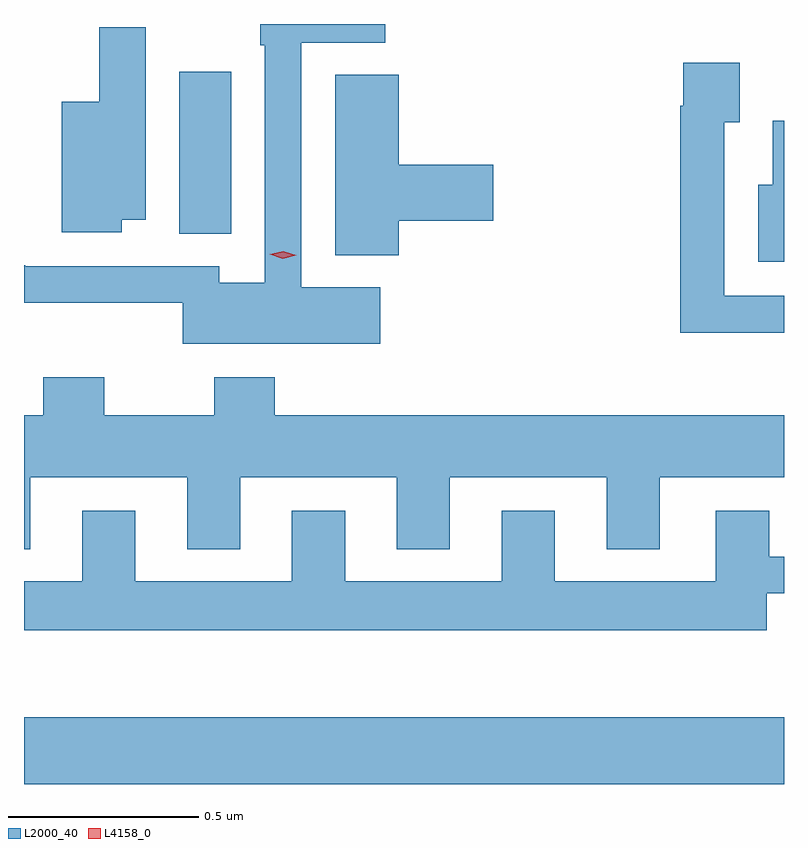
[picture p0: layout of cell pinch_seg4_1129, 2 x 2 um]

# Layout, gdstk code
import gdstk
lib = gdstk.Library(unit=1e-6, precision=1e-09)
def R(c, l, rs):  # rectangles x0, y0, x1, y1
    for r in rs: c.add(gdstk.rectangle(r[:2], r[2:], *l))
def P(c, l, *ps):  # polygons
    for p in ps: c.add(gdstk.Polygon(p, *l))
L2000_40 = (2000, 40)
L4158_0 = (4158, 0)

pinch_seg4_1129 = lib.new_cell('pinch_seg4_1129')
R(pinch_seg4_1129, L2000_40, [(396.266,800.009,398.266,800.185), (396.674,801.457,396.811,801.883)])
P(pinch_seg4_1129, L2000_40, [(397.204,801.316),(396.996,801.316),(396.996,801.96),(397.216,801.96),(397.216,802.009),(396.888,802.009),(396.888,801.953),(396.9,801.953),(396.9,801.328),(396.78,801.328),(396.78,801.372),(396.269,801.372),(396.269,801.374),(396.266,801.374),(396.266,801.275),(396.684,801.275),(396.684,801.167),(397.204,801.167)],
  [(396.523,801.494),(396.586,801.494),(396.586,802),(396.464,802),(396.464,801.805),(396.365,801.805),(396.365,801.461),(396.523,801.461)],
  [(398.266,801.294),(398.109,801.294),(398.109,801.751),(398.149,801.751),(398.149,801.907),(398.001,801.907),(398.001,801.794),(397.993,801.794),(397.993,801.197),(398.266,801.197)],
  [(397.252,801.491),(397.501,801.491),(397.501,801.638),(397.252,801.638),(397.252,801.875),(397.085,801.875),(397.085,801.401),(397.252,801.401)],
  [(398.266,801.754),(398.237,801.754),(398.237,801.586),(398.198,801.586),(398.198,801.383),(398.266,801.383)],
  [(396.283,800.816),(396.695,800.816),(396.695,800.627),(396.835,800.627),(396.835,800.816),(397.247,800.816),(397.247,800.627),(397.387,800.627),(397.387,800.816),(397.799,800.816),(397.799,800.627),(397.939,800.627),(397.939,800.816),(398.266,800.816),(398.266,800.98),(396.926,800.98),(396.926,801.079),(396.766,801.079),(396.766,800.98),(396.477,800.98),(396.477,801.079),(396.317,801.079),(396.317,800.98),(396.266,800.98),(396.266,800.627),(396.283,800.627)],
  [(398.221,800.511),(398.266,800.511),(398.266,800.607),(398.227,800.607),(398.227,800.728),(398.087,800.728),(398.087,800.542),(397.663,800.542),(397.663,800.728),(397.523,800.728),(397.523,800.542),(397.111,800.542),(397.111,800.728),(396.971,800.728),(396.971,800.542),(396.559,800.542),(396.559,800.728),(396.419,800.728),(396.419,800.542),(396.266,800.542),(396.266,800.414),(398.221,800.414)])
P(pinch_seg4_1129, L4158_0, [(396.947,801.391),(396.913,801.403),(396.913,801.403),(396.913,801.403),(396.948,801.411),(396.982,801.4),(396.982,801.4),(396.982,801.4)])

lib.write_gds('pinch_seg4_1129.gds')
